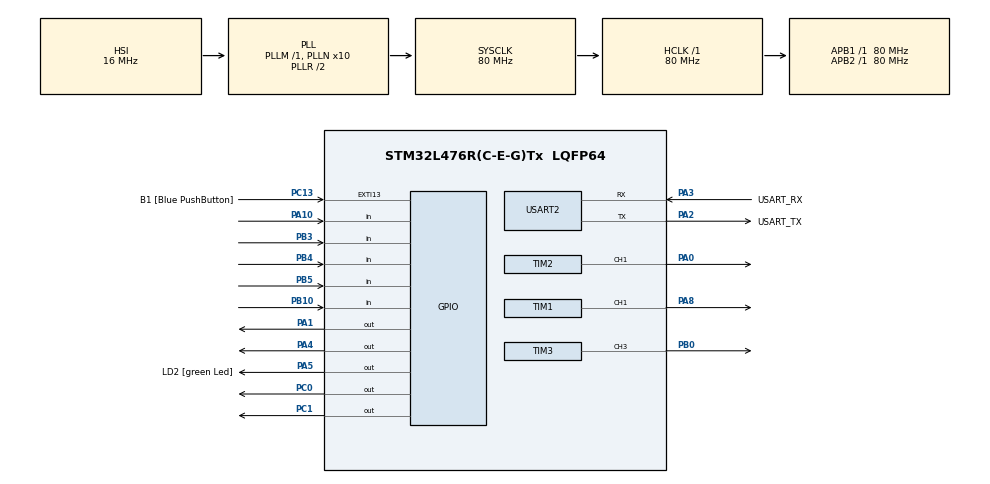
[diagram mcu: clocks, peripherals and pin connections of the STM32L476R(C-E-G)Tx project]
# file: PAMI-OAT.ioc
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Mcu.Family=STM32L4
Mcu.Name=STM32L476R(C-E-G)Tx
Mcu.Package=LQFP64
NVIC.PriorityGroup=NVIC_PRIORITYGROUP_4
NVIC.TIM4_IRQn=true\:0\:0\:false\:false\:true\:true\:true\:true
PA0.Signal=S_TIM2_CH1
PA1.Signal=GPIO_Output
PA10.Signal=GPIO_Input
PA13\ (JTMS-SWDIO).GPIO_Label=TMS
PA13\ (JTMS-SWDIO).Mode=Serial_Wire
PA13\ (JTMS-SWDIO).Signal=SYS_JTMS-SWDIO
PA14\ (JTCK-SWCLK).GPIO_Label=TCK
PA14\ (JTCK-SWCLK).Mode=Serial_Wire
PA14\ (JTCK-SWCLK).Signal=SYS_JTCK-SWCLK
PA2.GPIO_Label=USART_TX
PA2.GPIO_Mode=GPIO_MODE_AF_PP
PA2.GPIO_PuPd=GPIO_NOPULL
PA2.GPIO_Speed=GPIO_SPEED_FREQ_VERY_HIGH
PA2.Mode=Asynchronous
PA2.Signal=USART2_TX
PA3.GPIO_Label=USART_RX
PA3.GPIO_Mode=GPIO_MODE_AF_PP
PA3.GPIO_PuPd=GPIO_NOPULL
PA3.GPIO_Speed=GPIO_SPEED_FREQ_VERY_HIGH
PA3.Mode=Asynchronous
PA3.Signal=USART2_RX
PA4.Signal=GPIO_Output
PA5.GPIO_Label=LD2 [green Led]
PA5.GPIO_ModeDefaultOutputPP=GPIO_MODE_OUTPUT_PP
PA5.GPIO_PuPd=GPIO_NOPULL
PA5.GPIO_Speed=GPIO_SPEED_FREQ_LOW
PA5.Signal=GPIO_Output
PA8.Signal=S_TIM1_CH1
PB0.Signal=S_TIM3_CH3
PB10.Signal=GPIO_Input
PB3\ (JTDO-TRACESWO).Signal=GPIO_Input
PB4\ (NJTRST).Signal=GPIO_Input
PB5.Signal=GPIO_Input
PC0.Signal=GPIO_Output
PC1.Signal=GPIO_Output
PC13.GPIO_Label=B1 [Blue PushButton]
PC13.GPIO_ModeDefaultEXTI=GPIO_MODE_IT_FALLING
PC13.GPIO_PuPd=GPIO_NOPULL
PC13.Signal=GPXTI13
PC14-OSC32_IN\ (PC14).Mode=LSE-External-Oscillator
PC14-OSC32_IN\ (PC14).Signal=RCC_OSC32_IN
PC15-OSC32_OUT\ (PC15).Mode=LSE-External-Oscillator
PC15-OSC32_OUT\ (PC15).Signal=RCC_OSC32_OUT
PH0-OSC_IN\ (PH0).Signal=RCC_OSC_IN
PH1-OSC_OUT\ (PH1).Signal=RCC_OSC_OUT
ProjectManager.HeapSize=0x200
ProjectManager.StackSize=0x400
ProjectManager.TargetToolchain=STM32CubeIDE
RCC.ADCFreq_Value=64000000
RCC.AHBFreq_Value=80000000
RCC.APB1Freq_Value=80000000
RCC.APB1TimFreq_Value=80000000
RCC.APB2Freq_Value=80000000
RCC.APB2TimFreq_Value=80000000
RCC.CortexFreq_Value=80000000
RCC.HCLKFreq_Value=80000000
RCC.HSE_VALUE=8000000
RCC.HSI_VALUE=16000000
RCC.MSI_VALUE=4000000
RCC.PLLN=10
RCC.PLLSourceVirtual=RCC_PLLSOURCE_HSI
RCC.PREFETCH_ENABLE=1
RCC.SYSCLKFreq_VALUE=80000000
RCC.SYSCLKSource=RCC_SYSCLKSOURCE_PLLCLK
RCC.USBFreq_Value=64000000
RCC.VCOOutputFreq_Value=160000000
SH.S_TIM1_CH1.0=TIM1_CH1,PWM Generation1 CH1
SH.S_TIM2_CH1.0=TIM2_CH1,PWM Generation1 CH1
SH.S_TIM3_CH3.0=TIM3_CH3,PWM Generation3 CH3
TIM1.Channel-PWM\ Generation1\ CH1=TIM_CHANNEL_1
TIM1.Period=1599
TIM2.Channel-PWM\ Generation1\ CH1=TIM_CHANNEL_1
TIM2.Period=1999
TIM2.Prescaler=79
TIM3.Channel-PWM\ Generation3\ CH3=TIM_CHANNEL_3
TIM3.Period=1999
TIM3.Prescaler=79
TIM4.Period=9999
TIM4.Prescaler=79
TIM4.TIM_MasterOutputTrigger=TIM_TRGO_UPDATE
USART2.VirtualMode-Asynchronous=VM_ASYNC
VP_TIM1_VS_ClockSourceINT.Mode=Internal
VP_TIM2_VS_ClockSourceINT.Mode=Internal
VP_TIM3_VS_ClockSourceINT.Mode=Internal
VP_TIM4_VS_ClockSourceINT.Mode=Internal
board=NUCLEO-L476RG

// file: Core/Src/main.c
/* USER CODE BEGIN Header */
/**
  ******************************************************************************
  * @file           : main.c
  * @brief          : Main program body
  ******************************************************************************
  * @attention
  *
  * Copyright (c) 2025 STMicroelectronics.
  * All rights reserved.
  *
  * This software is licensed under terms that can be found in the LICENSE file
  * in the root directory of this software component.
  * If no LICENSE file comes with this software, it is provided AS-IS.
  *
  ******************************************************************************
  */
/* USER CODE END Header */
#include "main.h"

/* USER CODE BEGIN Includes */
#include "fonctions.h"
/* USER CODE END Includes */

TIM_HandleTypeDef htim1;
TIM_HandleTypeDef htim2;
TIM_HandleTypeDef htim3;
TIM_HandleTypeDef htim4;

UART_HandleTypeDef huart2;

void SystemClock_Config(void);
static void MX_GPIO_Init(void);
static void MX_USART2_UART_Init(void);
static void MX_TIM4_Init(void);
static void MX_TIM2_Init(void);
static void MX_TIM3_Init(void);
static void MX_TIM1_Init(void);

/* USER CODE BEGIN 0 */
int __io_putchar(int ch){
	HAL_UART_Transmit(&huart2, (uint8_t *)&ch, 1, HAL_MAX_DELAY);
	return ch;
}
int __io_getchar(void){
	uint8_t ch = 0;
	__HAL_UART_CLEAR_OREFLAG(&huart2);
	HAL_UART_Receive(&huart2, (uint8_t *)&ch, 1, HAL_MAX_DELAY);
	HAL_UART_Transmit(&huart2, (uint8_t *)&ch, 1, HAL_MAX_DELAY);
	return ch;
}
/* USER CODE END 0 */

int main(void)
{

  /* MCU Configuration--------------------------------------------------------*/

  /* Reset of all peripherals, Initializes the Flash interface and the Systick. */
  HAL_Init();

  /* Configure the system clock */
  SystemClock_Config();

  /* Initialize all configured peripherals */
  MX_GPIO_Init();
  MX_USART2_UART_Init();
  MX_TIM4_Init();
  MX_TIM2_Init();
  MX_TIM3_Init();
  MX_TIM1_Init();
  /* USER CODE BEGIN 2 */
  HAL_TIM_PWM_Start(&htim1, TIM_CHANNEL_1); // Lancement du timer pour le TRIG
  HAL_TIM_PWM_Start(&htim2, TIM_CHANNEL_1); // Lancement du timer pour les 2 moteurs
  HAL_TIM_PWM_Start(&htim3, TIM_CHANNEL_3); //
  HAL_TIM_Base_Start_IT(&htim4);
  // Génération du signal pour le trigger
  __HAL_TIM_SET_COMPARE(&htim1, TIM_CHANNEL_1, htim1.Instance->ARR/2);
  /* USER CODE END 2 */

  /* Infinite loop */
  while (1)
  {

  }
}

void SystemClock_Config(void)
{
  RCC_OscInitTypeDef RCC_OscInitStruct = {0};
  RCC_ClkInitTypeDef RCC_ClkInitStruct = {0};

  /** Configure the main internal regulator output voltage
  */
  if (HAL_PWREx_ControlVoltageScaling(PWR_REGULATOR_VOLTAGE_SCALE1) != HAL_OK)
  {
    Error_Handler();
  }

  /** Initializes the RCC Oscillators according to the specified parameters
  * in the RCC_OscInitTypeDef structure.
  */
  RCC_OscInitStruct.OscillatorType = RCC_OSCILLATORTYPE_HSI;
  RCC_OscInitStruct.HSIState = RCC_HSI_ON;
  RCC_OscInitStruct.HSICalibrationValue = RCC_HSICALIBRATION_DEFAULT;
  RCC_OscInitStruct.PLL.PLLState = RCC_PLL_ON;
  RCC_OscInitStruct.PLL.PLLSource = RCC_PLLSOURCE_HSI;
  RCC_OscInitStruct.PLL.PLLM = 1;
  RCC_OscInitStruct.PLL.PLLN = 10;
  RCC_OscInitStruct.PLL.PLLP = RCC_PLLP_DIV7;
  RCC_OscInitStruct.PLL.PLLQ = RCC_PLLQ_DIV2;
  RCC_OscInitStruct.PLL.PLLR = RCC_PLLR_DIV2;
  if (HAL_RCC_OscConfig(&RCC_OscInitStruct) != HAL_OK)
  {
    Error_Handler();
  }

  /** Initializes the CPU, AHB and APB buses clocks
  */
  RCC_ClkInitStruct.ClockType = RCC_CLOCKTYPE_HCLK|RCC_CLOCKTYPE_SYSCLK
                              |RCC_CLOCKTYPE_PCLK1|RCC_CLOCKTYPE_PCLK2;
  RCC_ClkInitStruct.SYSCLKSource = RCC_SYSCLKSOURCE_PLLCLK;
  RCC_ClkInitStruct.AHBCLKDivider = RCC_SYSCLK_DIV1;
  RCC_ClkInitStruct.APB1CLKDivider = RCC_HCLK_DIV1;
  RCC_ClkInitStruct.APB2CLKDivider = RCC_HCLK_DIV1;

  if (HAL_RCC_ClockConfig(&RCC_ClkInitStruct, FLASH_LATENCY_4) != HAL_OK)
  {
    Error_Handler();
  }
}

static void MX_TIM1_Init(void)
{

  TIM_ClockConfigTypeDef sClockSourceConfig = {0};
  TIM_MasterConfigTypeDef sMasterConfig = {0};
  TIM_OC_InitTypeDef sConfigOC = {0};
  TIM_BreakDeadTimeConfigTypeDef sBreakDeadTimeConfig = {0};

  htim1.Instance = TIM1;
  htim1.Init.Prescaler = 0;
  htim1.Init.CounterMode = TIM_COUNTERMODE_UP;
  htim1.Init.Period = 1599;
  htim1.Init.ClockDivision = TIM_CLOCKDIVISION_DIV1;
  htim1.Init.RepetitionCounter = 0;
  htim1.Init.AutoReloadPreload = TIM_AUTORELOAD_PRELOAD_DISABLE;
  if (HAL_TIM_Base_Init(&htim1) != HAL_OK)
  {
    Error_Handler();
  }
  sClockSourceConfig.ClockSource = TIM_CLOCKSOURCE_INTERNAL;
  if (HAL_TIM_ConfigClockSource(&htim1, &sClockSourceConfig) != HAL_OK)
  {
    Error_Handler();
  }
  if (HAL_TIM_PWM_Init(&htim1) != HAL_OK)
  {
    Error_Handler();
  }
  sMasterConfig.MasterOutputTrigger = TIM_TRGO_RESET;
  sMasterConfig.MasterOutputTrigger2 = TIM_TRGO2_RESET;
  sMasterConfig.MasterSlaveMode = TIM_MASTERSLAVEMODE_DISABLE;
  if (HAL_TIMEx_MasterConfigSynchronization(&htim1, &sMasterConfig) != HAL_OK)
  {
    Error_Handler();
  }
  sConfigOC.OCMode = TIM_OCMODE_PWM1;
  sConfigOC.Pulse = 0;
  sConfigOC.OCPolarity = TIM_OCPOLARITY_HIGH;
  sConfigOC.OCNPolarity = TIM_OCNPOLARITY_HIGH;
  sConfigOC.OCFastMode = TIM_OCFAST_DISABLE;
  sConfigOC.OCIdleState = TIM_OCIDLESTATE_RESET;
  sConfigOC.OCNIdleState = TIM_OCNIDLESTATE_RESET;
  if (HAL_TIM_PWM_ConfigChannel(&htim1, &sConfigOC, TIM_CHANNEL_1) != HAL_OK)
  {
    Error_Handler();
  }
  sBreakDeadTimeConfig.OffStateRunMode = TIM_OSSR_DISABLE;
  sBreakDeadTimeConfig.OffStateIDLEMode = TIM_OSSI_DISABLE;
  sBreakDeadTimeConfig.LockLevel = TIM_LOCKLEVEL_OFF;
  sBreakDeadTimeConfig.DeadTime = 0;
  sBreakDeadTimeConfig.BreakState = TIM_BREAK_DISABLE;
  sBreakDeadTimeConfig.BreakPolarity = TIM_BREAKPOLARITY_HIGH;
  sBreakDeadTimeConfig.BreakFilter = 0;
  sBreakDeadTimeConfig.Break2State = TIM_BREAK2_DISABLE;
  sBreakDeadTimeConfig.Break2Polarity = TIM_BREAK2POLARITY_HIGH;
  sBreakDeadTimeConfig.Break2Filter = 0;
  sBreakDeadTimeConfig.AutomaticOutput = TIM_AUTOMATICOUTPUT_DISABLE;
  if (HAL_TIMEx_ConfigBreakDeadTime(&htim1, &sBreakDeadTimeConfig) != HAL_OK)
  {
    Error_Handler();
  }
  HAL_TIM_MspPostInit(&htim1);

}

static void MX_TIM2_Init(void)
{

  TIM_ClockConfigTypeDef sClockSourceConfig = {0};
  TIM_MasterConfigTypeDef sMasterConfig = {0};
  TIM_OC_InitTypeDef sConfigOC = {0};

  htim2.Instance = TIM2;
  htim2.Init.Prescaler = 79;
  htim2.Init.CounterMode = TIM_COUNTERMODE_UP;
  htim2.Init.Period = 1999;
  htim2.Init.ClockDivision = TIM_CLOCKDIVISION_DIV1;
  htim2.Init.AutoReloadPreload = TIM_AUTORELOAD_PRELOAD_DISABLE;
  if (HAL_TIM_Base_Init(&htim2) != HAL_OK)
  {
    Error_Handler();
  }
  sClockSourceConfig.ClockSource = TIM_CLOCKSOURCE_INTERNAL;
  if (HAL_TIM_ConfigClockSource(&htim2, &sClockSourceConfig) != HAL_OK)
  {
    Error_Handler();
  }
  if (HAL_TIM_PWM_Init(&htim2) != HAL_OK)
  {
    Error_Handler();
  }
  sMasterConfig.MasterOutputTrigger = TIM_TRGO_RESET;
  sMasterConfig.MasterSlaveMode = TIM_MASTERSLAVEMODE_DISABLE;
  if (HAL_TIMEx_MasterConfigSynchronization(&htim2, &sMasterConfig) != HAL_OK)
  {
    Error_Handler();
  }
  sConfigOC.OCMode = TIM_OCMODE_PWM1;
  sConfigOC.Pulse = 0;
  sConfigOC.OCPolarity = TIM_OCPOLARITY_HIGH;
  sConfigOC.OCFastMode = TIM_OCFAST_DISABLE;
  if (HAL_TIM_PWM_ConfigChannel(&htim2, &sConfigOC, TIM_CHANNEL_1) != HAL_OK)
  {
    Error_Handler();
  }
  HAL_TIM_MspPostInit(&htim2);

}

static void MX_TIM3_Init(void)
{

  TIM_ClockConfigTypeDef sClockSourceConfig = {0};
  TIM_MasterConfigTypeDef sMasterConfig = {0};
  TIM_OC_InitTypeDef sConfigOC = {0};

  htim3.Instance = TIM3;
  htim3.Init.Prescaler = 79;
  htim3.Init.CounterMode = TIM_COUNTERMODE_UP;
  htim3.Init.Period = 1999;
  htim3.Init.ClockDivision = TIM_CLOCKDIVISION_DIV1;
  htim3.Init.AutoReloadPreload = TIM_AUTORELOAD_PRELOAD_DISABLE;
  if (HAL_TIM_Base_Init(&htim3) != HAL_OK)
  {
    Error_Handler();
  }
  sClockSourceConfig.ClockSource = TIM_CLOCKSOURCE_INTERNAL;
  if (HAL_TIM_ConfigClockSource(&htim3, &sClockSourceConfig) != HAL_OK)
  {
    Error_Handler();
  }
  if (HAL_TIM_PWM_Init(&htim3) != HAL_OK)
  {
    Error_Handler();
  }
  sMasterConfig.MasterOutputTrigger = TIM_TRGO_RESET;
  sMasterConfig.MasterSlaveMode = TIM_MASTERSLAVEMODE_DISABLE;
  if (HAL_TIMEx_MasterConfigSynchronization(&htim3, &sMasterConfig) != HAL_OK)
  {
    Error_Handler();
  }
  sConfigOC.OCMode = TIM_OCMODE_PWM1;
  sConfigOC.Pulse = 0;
  sConfigOC.OCPolarity = TIM_OCPOLARITY_HIGH;
  sConfigOC.OCFastMode = TIM_OCFAST_DISABLE;
  if (HAL_TIM_PWM_ConfigChannel(&htim3, &sConfigOC, TIM_CHANNEL_3) != HAL_OK)
  {
    Error_Handler();
  }
  HAL_TIM_MspPostInit(&htim3);

}

static void MX_TIM4_Init(void)
{

  TIM_ClockConfigTypeDef sClockSourceConfig = {0};
  TIM_MasterConfigTypeDef sMasterConfig = {0};

  htim4.Instance = TIM4;
  htim4.Init.Prescaler = 79;
  htim4.Init.CounterMode = TIM_COUNTERMODE_UP;
  htim4.Init.Period = 9999;
  htim4.Init.ClockDivision = TIM_CLOCKDIVISION_DIV1;
  htim4.Init.AutoReloadPreload = TIM_AUTORELOAD_PRELOAD_DISABLE;
  if (HAL_TIM_Base_Init(&htim4) != HAL_OK)
  {
    Error_Handler();
  }
  sClockSourceConfig.ClockSource = TIM_CLOCKSOURCE_INTERNAL;
  if (HAL_TIM_ConfigClockSource(&htim4, &sClockSourceConfig) != HAL_OK)
  {
    Error_Handler();
  }
  sMasterConfig.MasterOutputTrigger = TIM_TRGO_UPDATE;
  sMasterConfig.MasterSlaveMode = TIM_MASTERSLAVEMODE_DISABLE;
  if (HAL_TIMEx_MasterConfigSynchronization(&htim4, &sMasterConfig) != HAL_OK)
  {
    Error_Handler();
  }

}

static void MX_USART2_UART_Init(void)
{

  huart2.Instance = USART2;
  huart2.Init.BaudRate = 115200;
  huart2.Init.WordLength = UART_WORDLENGTH_8B;
  huart2.Init.StopBits = UART_STOPBITS_1;
  huart2.Init.Parity = UART_PARITY_NONE;
  huart2.Init.Mode = UART_MODE_TX_RX;
  huart2.Init.HwFlowCtl = UART_HWCONTROL_NONE;
  huart2.Init.OverSampling = UART_OVERSAMPLING_16;
  huart2.Init.OneBitSampling = UART_ONE_BIT_SAMPLE_DISABLE;
  huart2.AdvancedInit.AdvFeatureInit = UART_ADVFEATURE_NO_INIT;
  if (HAL_UART_Init(&huart2) != HAL_OK)
  {
    Error_Handler();
  }

}

static void MX_GPIO_Init(void)
{
  GPIO_InitTypeDef GPIO_InitStruct = {0};

  /* GPIO Ports Clock Enable */
  __HAL_RCC_GPIOC_CLK_ENABLE();
  __HAL_RCC_GPIOH_CLK_ENABLE();
  __HAL_RCC_GPIOA_CLK_ENABLE();
  __HAL_RCC_GPIOB_CLK_ENABLE();

  /*Configure GPIO pin Output Level */
  HAL_GPIO_WritePin(GPIOC, GPIO_PIN_0|GPIO_PIN_1, GPIO_PIN_RESET);

  /*Configure GPIO pin Output Level */
  HAL_GPIO_WritePin(GPIOA, GPIO_PIN_1|GPIO_PIN_4|LD2_Pin, GPIO_PIN_RESET);

  /*Configure GPIO pin : B1_Pin */
  GPIO_InitStruct.Pin = B1_Pin;
  GPIO_InitStruct.Mode = GPIO_MODE_IT_FALLING;
  GPIO_InitStruct.Pull = GPIO_NOPULL;
  HAL_GPIO_Init(B1_GPIO_Port, &GPIO_InitStruct);

  /*Configure GPIO pins : PC0 PC1 */
  GPIO_InitStruct.Pin = GPIO_PIN_0|GPIO_PIN_1;
  GPIO_InitStruct.Mode = GPIO_MODE_OUTPUT_PP;
  GPIO_InitStruct.Pull = GPIO_NOPULL;
  GPIO_InitStruct.Speed = GPIO_SPEED_FREQ_LOW;
  HAL_GPIO_Init(GPIOC, &GPIO_InitStruct);

  /*Configure GPIO pins : PA1 PA4 LD2_Pin */
  GPIO_InitStruct.Pin = GPIO_PIN_1|GPIO_PIN_4|LD2_Pin;
  GPIO_InitStruct.Mode = GPIO_MODE_OUTPUT_PP;
  GPIO_InitStruct.Pull = GPIO_NOPULL;
  GPIO_InitStruct.Speed = GPIO_SPEED_FREQ_LOW;
  HAL_GPIO_Init(GPIOA, &GPIO_InitStruct);

  /*Configure GPIO pins : PB10 PB3 PB4 PB5 */
  GPIO_InitStruct.Pin = GPIO_PIN_10|GPIO_PIN_3|GPIO_PIN_4|GPIO_PIN_5;
  GPIO_InitStruct.Mode = GPIO_MODE_INPUT;
  GPIO_InitStruct.Pull = GPIO_NOPULL;
  HAL_GPIO_Init(GPIOB, &GPIO_InitStruct);

  /*Configure GPIO pin : PA10 */
  GPIO_InitStruct.Pin = GPIO_PIN_10;
  GPIO_InitStruct.Mode = GPIO_MODE_INPUT;
  GPIO_InitStruct.Pull = GPIO_NOPULL;
  HAL_GPIO_Init(GPIOA, &GPIO_InitStruct);

}

/* USER CODE BEGIN 4 */
void HAL_TIM_PeriodElapsedCallback(TIM_HandleTypeDef *htim)
{
	static int taskNumber = 0;
	if(htim->Instance == TIM4)
	{
		taskNumber = (taskNumber+1) % 3;
		switch(taskNumber)
		{
		case 0 : Moteurs();  break;
		case 1 : Ligne();    break;
		case 2 : UltraSon(); break;
		default :            break;
		}
	}
}
/* USER CODE END 4 */

void Error_Handler(void)
{
  __disable_irq();
  while (1)
  {
  }
}
